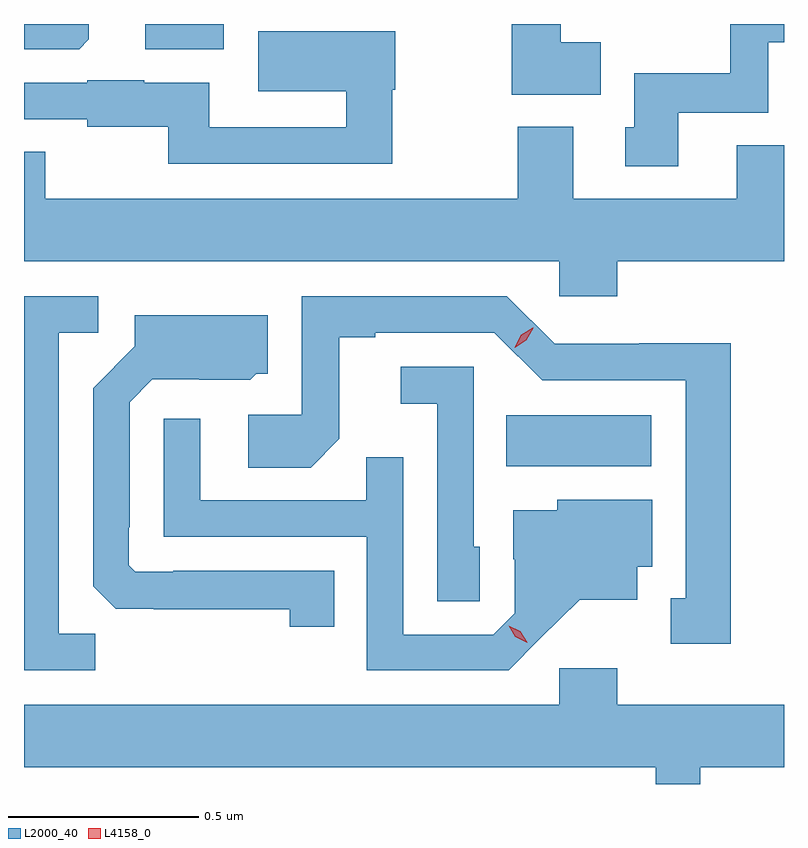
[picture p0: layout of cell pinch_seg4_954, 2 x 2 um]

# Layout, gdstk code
import gdstk
lib = gdstk.Library(unit=1e-6, precision=1e-09)
def R(c, l, rs):  # rectangles x0, y0, x1, y1
    for r in rs: c.add(gdstk.rectangle(r[:2], r[2:], *l))
def P(c, l, *ps):  # polygons
    for p in ps: c.add(gdstk.Polygon(p, *l))
L2000_40 = (2000, 40)
L4158_0 = (4158, 0)

pinch_seg4_954 = lib.new_cell('pinch_seg4_954')
R(pinch_seg4_954, L2000_40, [(663.508,800.276,663.889,800.41), (662.558,801.374,662.764,801.44)])
P(pinch_seg4_954, L2000_40, [(663.757,801.392),(663.652,801.392),(663.652,801.44),(663.523,801.44),(663.523,801.254),(663.757,801.254)],
  [(663.961,801.206),(664.197,801.206),(664.197,801.392),(664.239,801.392),(664.239,801.44),(664.098,801.44),(664.098,801.31),(663.845,801.31),(663.845,801.168),(663.821,801.168),(663.821,801.066),(663.961,801.066)],
  [(662.41,801.4),(662.41,801.44),(662.239,801.44),(662.239,801.374),(662.384,801.374)],
  [(663.208,801.267),(663.216,801.267),(663.216,801.421),(662.856,801.421),(662.856,801.263),(663.087,801.263),(663.087,801.168),(662.727,801.168),(662.727,801.286),(662.556,801.286),(662.556,801.292),(662.406,801.292),(662.406,801.285),(662.239,801.285),(662.239,801.189),(662.406,801.189),(662.406,801.17),(662.619,801.17),(662.619,801.072),(663.208,801.072)],
  [(663.8,800.816),(664.239,800.816),(664.239,801.121),(664.115,801.121),(664.115,800.98),(663.685,800.98),(663.685,801.169),(663.538,801.169),(663.538,800.98),(662.295,800.98),(662.295,801.104),(662.239,801.104),(662.239,800.816),(663.648,800.816),(663.648,800.723),(663.8,800.723)],
  [(664.099,800.6),(663.858,800.6),(663.858,800.598),(663.636,800.598),(663.51,800.724),(662.97,800.724),(662.97,800.412),(662.829,800.412),(662.829,800.272),(662.993,800.272),(663.069,800.348),(663.069,800.616),(663.163,800.616),(663.163,800.628),(663.477,800.628),(663.603,800.502),(663.98,800.502),(663.98,799.929),(663.941,799.929),(663.941,799.809),(664.099,799.809)],
  [(662.427,799.835),(662.331,799.835),(662.331,800.628),(662.434,800.628),(662.434,800.724),(662.239,800.724),(662.239,799.74),(662.427,799.74)],
  [(663.056,800.001),(662.632,800.001),(662.632,799.998),(662.532,799.998),(662.514,800.016),(662.514,800.116),(662.517,800.116),(662.517,800.445),(662.577,800.505),(662.7,800.505),(662.7,800.504),(662.834,800.504),(662.85,800.52),(662.881,800.52),(662.881,800.674),(662.531,800.674),(662.531,800.592),(662.421,800.482),(662.421,799.96),(662.48,799.901),(662.581,799.901),(662.581,799.9),(662.938,799.9),(662.938,799.854),(663.056,799.854)],
  [(663.438,800.064),(663.423,800.064),(663.423,800.538),(663.231,800.538),(663.231,800.441),(663.327,800.441),(663.327,799.921),(663.438,799.921)],
  [(663.598,799.823),(663.701,799.925),(663.853,799.925),(663.853,800.012),(663.892,800.012),(663.892,800.188),(663.642,800.188),(663.642,800.161),(663.527,800.161),(663.527,800.032),(663.531,800.032),(663.531,799.89),(663.474,799.833),(663.237,799.833),(663.237,800.3),(663.139,800.3),(663.139,800.187),(662.703,800.187),(662.703,800.401),(662.607,800.401),(662.607,800.091),(663.141,800.091),(663.141,799.74),(663.514,799.74)],
  [(664.019,799.484),(664.239,799.484),(664.239,799.648),(663.8,799.648),(663.8,799.744),(663.648,799.744),(663.648,799.648),(662.239,799.648),(662.239,799.484),(663.902,799.484),(663.902,799.44),(664.019,799.44)])
P(pinch_seg4_954, L4158_0, [(663.563,799.812),(663.532,799.827),(663.514,799.857),(663.514,799.857),(663.514,799.857),(663.545,799.842),(663.563,799.813),(663.563,799.812)],
  [(663.53,800.588),(663.53,800.589),(663.547,800.622),(663.578,800.641),(663.579,800.641),(663.579,800.64),(663.561,800.608),(663.53,800.588)])

lib.write_gds('pinch_seg4_954.gds')
